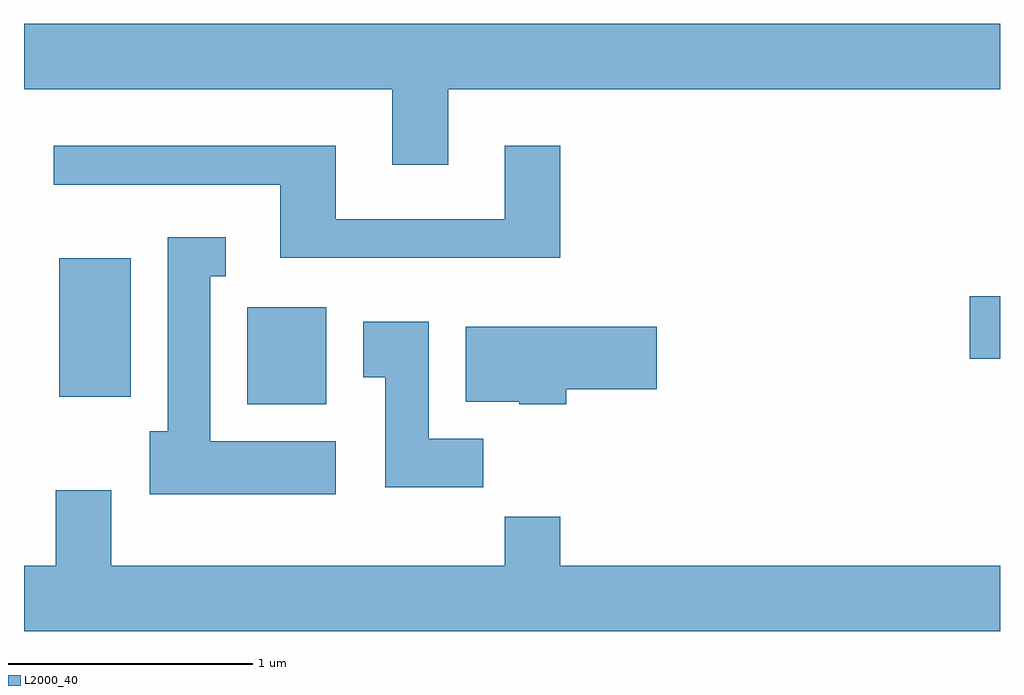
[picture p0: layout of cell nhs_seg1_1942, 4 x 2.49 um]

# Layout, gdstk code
import gdstk
lib = gdstk.Library(unit=1e-6, precision=1e-09)
def R(c, l, rs):  # rectangles x0, y0, x1, y1
    for r in rs: c.add(gdstk.rectangle(r[:2], r[2:], *l))
def P(c, l, *ps):  # polygons
    for p in ps: c.add(gdstk.Polygon(p, *l))
L2000_40 = (2000, 40)

nhs_seg1_1942 = lib.new_cell('nhs_seg1_1942')
R(nhs_seg1_1942, L2000_40, [(244.526,975.986,244.849,976.384), (243.756,976.016,244.049,976.584), (247.486,976.171,247.611,976.429)])
P(nhs_seg1_1942, L2000_40, [(245.349,977.276),(247.611,977.276),(247.611,977.544),(243.611,977.544),(243.611,977.276),(245.121,977.276),(245.121,976.966),(245.349,976.966)],
  [(245.809,977.044),(245.581,977.044),(245.581,976.744),(244.889,976.744),(244.889,977.044),(243.733,977.044),(243.733,976.886),(244.661,976.886),(244.661,976.586),(245.809,976.586)],
  [(244.889,975.834),(244.374,975.834),(244.374,976.511),(244.438,976.511),(244.438,976.669),(244.201,976.669),(244.201,975.874),(244.126,975.874),(244.126,975.616),(244.889,975.616)],
  [(245.494,975.844),(245.269,975.844),(245.269,976.324),(245.001,976.324),(245.001,976.096),(245.091,976.096),(245.091,975.646),(245.494,975.646)],
  [(245.834,976.046),(246.204,976.046),(246.204,976.304),(245.421,976.304),(245.421,975.996),(245.64,975.996),(245.64,975.986),(245.834,975.986)],
  [(247.611,975.324),(245.809,975.324),(245.809,975.524),(245.581,975.524),(245.581,975.324),(243.969,975.324),(243.969,975.634),(243.741,975.634),(243.741,975.324),(243.611,975.324),(243.611,975.056),(247.611,975.056)])

lib.write_gds('nhs_seg1_1942.gds')
